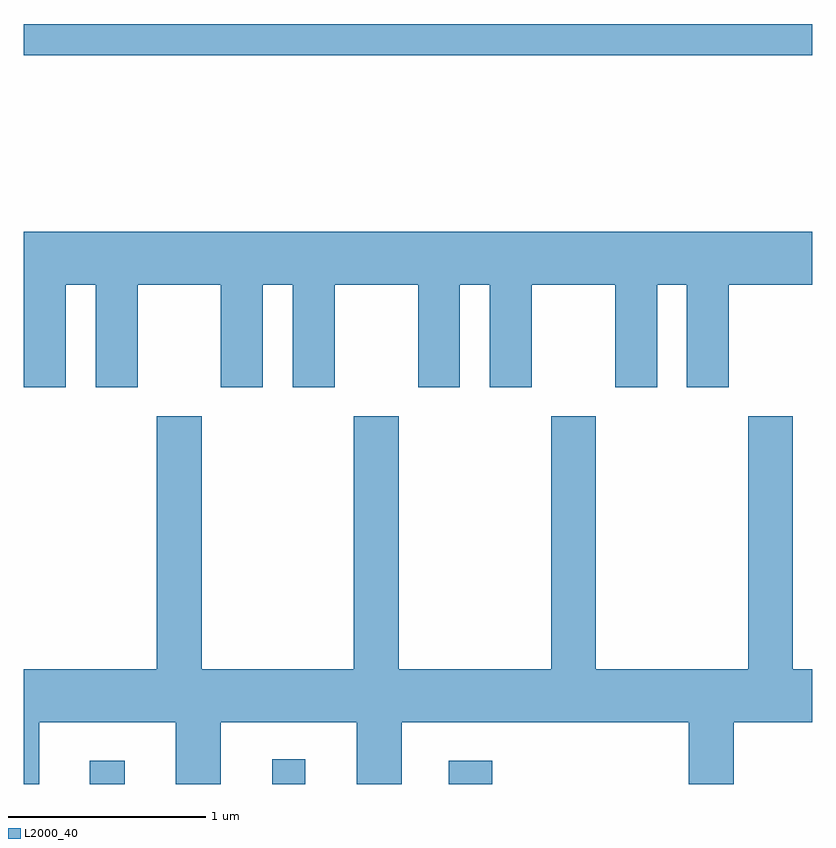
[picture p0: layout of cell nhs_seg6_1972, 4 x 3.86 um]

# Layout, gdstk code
import gdstk
lib = gdstk.Library(unit=1e-6, precision=1e-09)
def R(c, l, rs):  # rectangles x0, y0, x1, y1
    for r in rs: c.add(gdstk.rectangle(r[:2], r[2:], *l))
def P(c, l, *ps):  # polygons
    for p in ps: c.add(gdstk.Polygon(p, *l))
L2000_40 = (2000, 40)

nhs_seg6_1972 = lib.new_cell('nhs_seg6_1972')
R(nhs_seg6_1972, L2000_40, [(245.946,1554.162,246.124,1554.279), (246.871,1554.162,247.039,1554.288), (247.766,1554.162,247.989,1554.279), (245.611,1557.861,249.611,1558.019)])
P(nhs_seg6_1972, L2000_40, [(245.824,1556.696),(245.976,1556.696),(245.976,1556.176),(246.189,1556.176),(246.189,1556.696),(246.611,1556.696),(246.611,1556.176),(246.824,1556.176),(246.824,1556.696),(246.976,1556.696),(246.976,1556.176),(247.189,1556.176),(247.189,1556.696),(247.611,1556.696),(247.611,1556.176),(247.824,1556.176),(247.824,1556.696),(247.976,1556.696),(247.976,1556.176),(248.189,1556.176),(248.189,1556.696),(248.611,1556.696),(248.611,1556.176),(248.824,1556.176),(248.824,1556.696),(248.976,1556.696),(248.976,1556.176),(249.189,1556.176),(249.189,1556.696),(249.611,1556.696),(249.611,1556.964),(245.611,1556.964),(245.611,1556.176),(245.824,1556.176)],
  [(245.689,1554.476),(246.381,1554.476),(246.381,1554.162),(246.609,1554.162),(246.609,1554.476),(247.301,1554.476),(247.301,1554.162),(247.529,1554.162),(247.529,1554.476),(248.986,1554.476),(248.986,1554.162),(249.214,1554.162),(249.214,1554.476),(249.611,1554.476),(249.611,1554.744),(249.514,1554.744),(249.514,1556.029),(249.286,1556.029),(249.286,1554.744),(248.514,1554.744),(248.514,1556.029),(248.286,1556.029),(248.286,1554.744),(247.514,1554.744),(247.514,1556.029),(247.286,1556.029),(247.286,1554.744),(246.514,1554.744),(246.514,1556.029),(246.286,1556.029),(246.286,1554.744),(245.611,1554.744),(245.611,1554.162),(245.689,1554.162)])

lib.write_gds('nhs_seg6_1972.gds')
